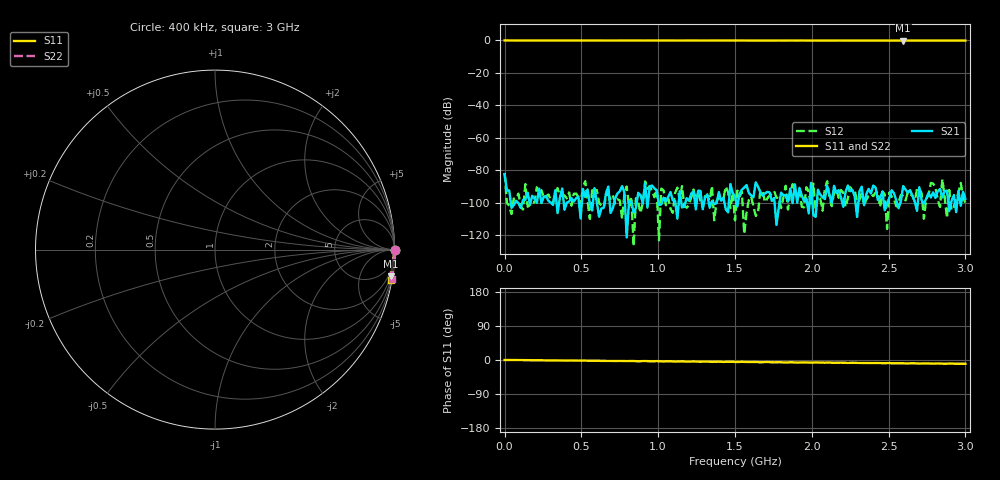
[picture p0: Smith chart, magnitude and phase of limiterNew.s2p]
# Hz S DB R 50
! CMT, SC5090, 24087134, 25.3.3/4
! Date: 12.12.2025 15:30:38
! Data: Format (Calibration Info)
! Freq	S11:dB/Ang(F2)	S21:dB/Ang(F2)	S12:dB/Ang(F2)	S22:dB/Ang(F2)
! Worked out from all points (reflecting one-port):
!   201 points, 400 kHz to 3 GHz, reference 50 ohm
!   lowest |S11| = -0.1 dB at 2.595 GHz (marker M1), VSWR 235.30, Z = 37.9 - j664 ohm
!   phase of S11 starts at -0 deg and turns -10 deg over the sweep
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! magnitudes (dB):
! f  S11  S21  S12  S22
! 400 kHz  0.0  -82.4  -81.5  0.0
! 510.3 MHz  0.0  -91.4  -90.3  0.0
! 1.005 GHz  0.0  -101.2  -123.1  0.0
! 1.305 GHz  0.0  -96.7  -95.8  0.0
! 1.35 GHz  0.0  -98.9  -89.6  -0.1
! 1.395 GHz  0.0  -93.4  -96.9  0.0
! 1.44 GHz  0.0  -104.0  -90.0  -0.1
! 1.47 GHz  0.0  -88.4  -103.3  0.0
! 1.5 GHz  0.0  -96.1  -110.8  0.0
! 1.89 GHz  -0.1  -88.5  -90.8  0.0
! 1.935 GHz  0.0  -95.5  -102.4  0.0
! 1.98 GHz  -0.1  -106.4  -93.1  -0.1
! 2.01 GHz  0.0  -107.5  -88.1  0.0
! 2.505 GHz  -0.1  -96.9  -93.5  0.0
! 2.565 GHz  0.0  -103.3  -99.8  0.0
! 2.595 GHz  -0.1  -89.6  -95.9  0.0
! 2.64 GHz  0.0  -92.2  -94.9  0.0
! 2.67 GHz  -0.1  -99.1  -99.2  -0.1
! 2.715 GHz  0.0  -98.3  -94.1  0.0
! 2.76 GHz  -0.1  -93.9  -95.4  0.0
! 2.805 GHz  0.0  -97.0  -90.4  0.0
! 3 GHz  -0.1  -97.5  -99.8  0.0
